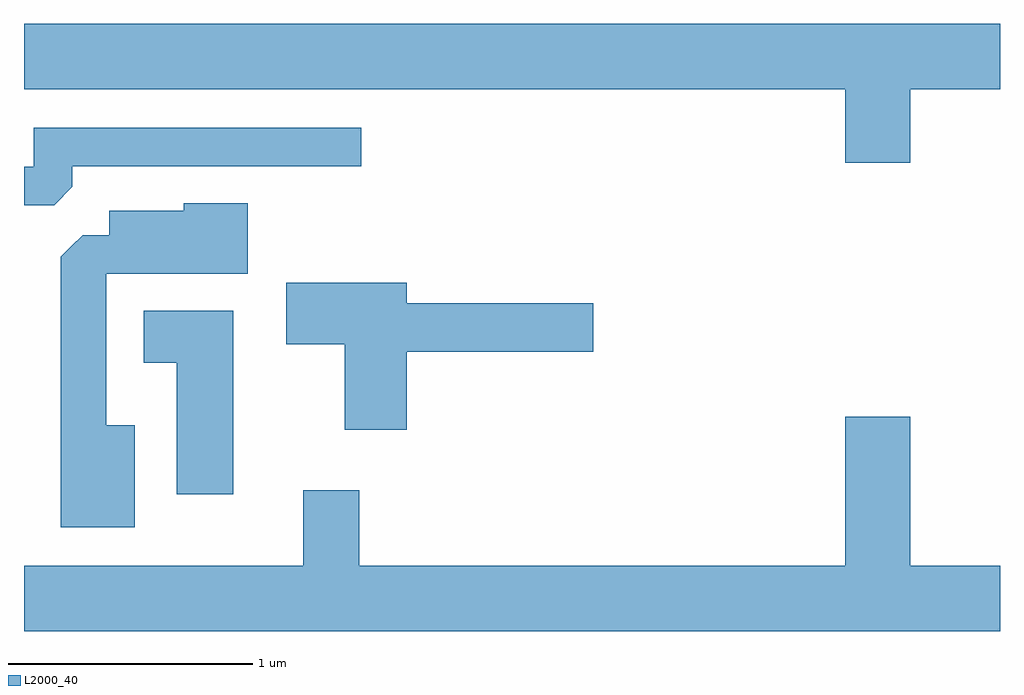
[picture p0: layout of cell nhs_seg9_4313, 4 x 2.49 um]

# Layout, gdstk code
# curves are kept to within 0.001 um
import gdstk
lib = gdstk.Library(unit=1e-6, precision=1e-09)
def P(c, l, *ps):  # polygons
    for p in ps: c.add(gdstk.Polygon(p, *l))
L2000_40 = (2000, 40)

nhs_seg9_4313 = lib.new_cell('nhs_seg9_4313')
P(nhs_seg9_4313, L2000_40, [(315.244,2040.656),(315.611,2040.656),(315.611,2040.924),(311.611,2040.924),(311.611,2040.656),(314.976,2040.656),(314.976,2040.356),(315.244,2040.356)],
  [(311.809,2040.257),(311.809,2040.341),(312.993,2040.341),(312.993,2040.499),(311.651,2040.499),(311.651,2040.339),(311.611,2040.339),(311.611,2040.181),(311.734,2040.181)],
  [(312.064,2039.279),(311.949,2039.279),(311.949,2039.901),(312.529,2039.901),(312.529,2040.189),(312.266,2040.189),(312.266,2040.159),(311.961,2040.159),(311.961,2040.059),(311.852,2040.059),(311.761,2039.969),(311.761,2038.861),(312.064,2038.861)],
  [(313.179,2039.581),(313.944,2039.581),(313.944,2039.779),(313.179,2039.779),(313.179,2039.864),(312.686,2039.864),(312.686,2039.611),(312.926,2039.611),(312.926,2039.261),(313.179,2039.261)],
  [(312.469,2039.749),(312.101,2039.749),(312.101,2039.536),(312.236,2039.536),(312.236,2038.996),(312.469,2038.996)],
  [(315.611,2038.704),(315.244,2038.704),(315.244,2039.314),(314.976,2039.314),(314.976,2038.704),(312.984,2038.704),(312.984,2039.014),(312.756,2039.014),(312.756,2038.704),(311.611,2038.704),(311.611,2038.436),(315.611,2038.436)])

lib.write_gds('nhs_seg9_4313.gds')
